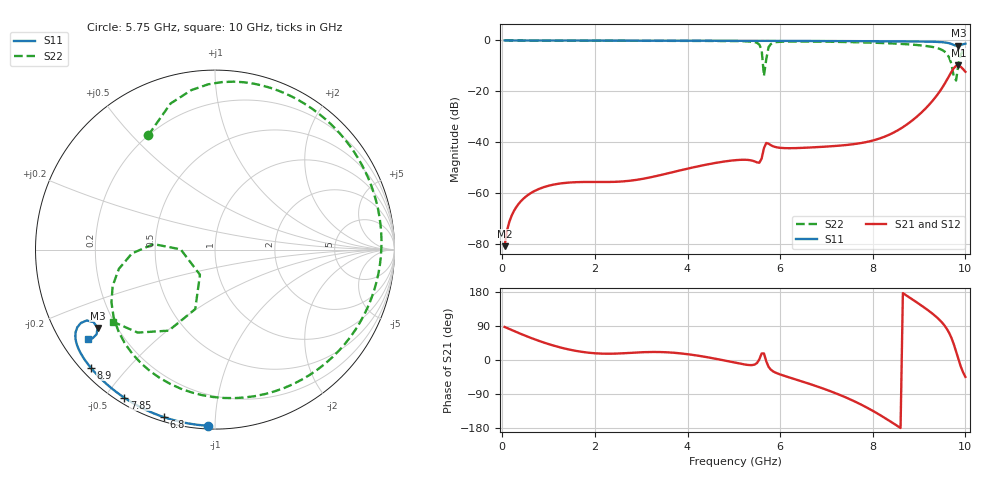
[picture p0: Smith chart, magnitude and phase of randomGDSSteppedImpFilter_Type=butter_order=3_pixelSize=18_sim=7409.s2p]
! freq	dB(S11)	phase(S11)	dB(S12)	phase(S12)
!  dB(S21)	phase(S21)	dB(S22)	phase(S22)
!S-par simulation data
#  GHz  S  DB  R 50
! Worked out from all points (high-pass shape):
!   200 points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, 50 MHz to 10 GHz, reference 50 ohm
!   highest |S21| = -9.82 dB at 9.85 GHz (marker M1); lowest = -80.9 dB at 50 MHz (marker M2)
!   |S21| within 3 dB of the highest: 9.685 GHz to end of sweep
!   lowest |S11| = -2.1 dB at 9.85 GHz (marker M3), VSWR 8.37, Z = 6.51 - j14.9 ohm
!   |S11| at or under -10 dB: nowhere
!   |S22| runs from -15.7 to 0.0 dB; largest |S21 - S12| = 0
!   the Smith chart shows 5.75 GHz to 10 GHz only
!   S11 on the Smith chart (normalised r, x): 5.75 GHz: 0.02, -0.96; 6.8 GHz: 0.02, -0.74; 7.85 GHz: 0.02, -0.56; 8.9 GHz: 0.03, -0.40; 10 GHz: 0.08, -0.32
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0.05  -0.00 -0.9  -80.89 87.2  -80.89 87.2  -0.00 -4.6
0.2  -0.00 -3.5  -68.96 79.2  -68.96 79.2  -0.02 -18.0
0.5  -0.01 -8.6  -61.53 63.9  -61.53 63.9  -0.06 -44.0
1.05  -0.02 -18.1  -56.91 40.1  -56.91 40.1  -0.09 -85.7
1.75  -0.04 -29.9  -55.66 21.0  -55.66 21.0  -0.11 -127.2
3.4  -0.08 -56.8  -53.01 21.0  -53.01 21.0  -0.15 164.4
5.05  -0.13 -82.0  -47.05 -7.7  -47.05 -7.7  -0.26 102.1
5.45  -0.14 -87.9  -47.56 -12.0  -47.56 -12.0  -0.66 75.8
5.6  -0.15 -90.0  -46.47 17.2  -46.47 17.2  -3.63 41.5
5.65  -0.15 -90.8  -42.34 17.3  -42.34 17.3  -13.95 14.4
5.7  -0.15 -91.5  -40.30 -3.2  -40.30 -3.2  -7.41 144.0
5.75  -0.16 -92.2  -40.61 -18.1  -40.61 -18.1  -2.65 120.4
6  -0.17 -95.8  -42.22 -38.1  -42.22 -38.1  -0.52 83.6
6.7  -0.21 -105.6  -42.05 -65.7  -42.05 -65.7  -0.44 45.2
6.8  -0.21 -107.0  -41.95 -69.8  -41.95 -69.8  -0.45 40.1
7.85  -0.29 -121.5  -39.99 -124.0  -39.99 -124.0  -0.79 -17.3
8.35  -0.33 -128.5  -37.11 -159.8  -37.11 -159.8  -1.12 -49.4
8.9  -0.40 -136.5  -30.77 156.2  -30.77 156.2  -1.71 -90.7
9.5  -0.68 -147.1  -18.57 98.3  -18.57 98.3  -3.78 -153.0
9.8  -2.07 -149.1  -9.98 22.0  -9.98 22.0  -15.75 -120.9
9.85  -2.08 -146.3  -9.82 1.5  -9.82 1.5  -9.14 -108.4
10  -1.25 -144.7  -12.31 -44.7  -12.31 -44.7  -3.13 -144.9
